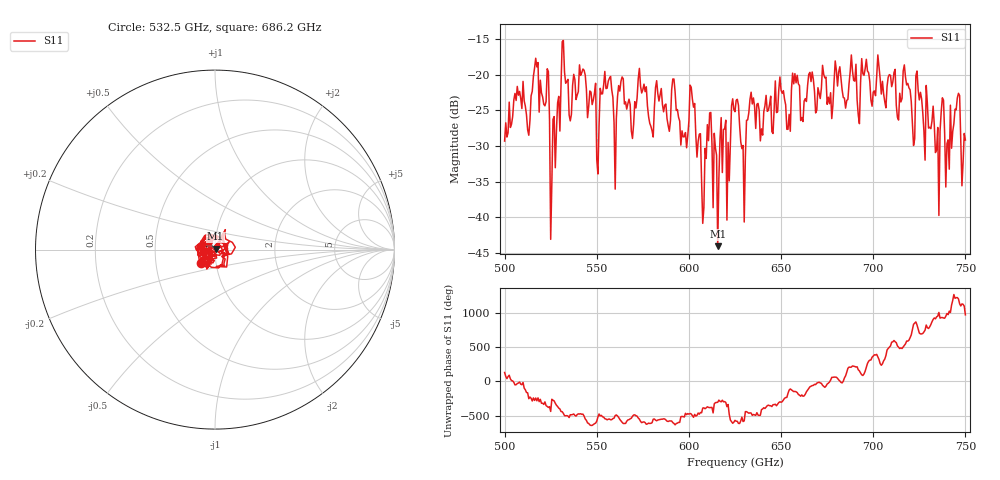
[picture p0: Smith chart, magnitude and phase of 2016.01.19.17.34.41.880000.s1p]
!Created with skrf (http://scikit-rf.org).
# GHz S RI R 50.0
!freq ReS11 ImS11
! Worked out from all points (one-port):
!   401 points, 500 GHz to 750 GHz, reference 50 ohm
!   lowest |S11| = -44.1 dB at 615.6 GHz (marker M1), VSWR 1.01, Z = 50.3 + j0.53 ohm
!   |S11| at or under -10 dB: start of sweep to end of sweep
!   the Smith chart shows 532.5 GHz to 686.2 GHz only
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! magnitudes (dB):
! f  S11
! 500 GHz  -29.3
! 506.9 GHz  -21.6
! 513.1 GHz  -28.5
! 516.9 GHz  -17.7
! 523.1 GHz  -19.2
! 526.2 GHz  -26.3
! 531.2 GHz  -15.3
! 541.9 GHz  -19.7
! 551.2 GHz  -27.0
! 553.1 GHz  -22.7
! 560 GHz  -36.1
! 562.5 GHz  -22.3
! 593.8 GHz  -24.9
! 598.1 GHz  -28.1
! 601.9 GHz  -23.4
! 608.1 GHz  -38.6
! 611.2 GHz  -25.4
! 615.6 GHz  -44.1
! 621.9 GHz  -34.9
! 625 GHz  -25.2
! 629.4 GHz  -29.9
! 633.8 GHz  -22.4
! 656.2 GHz  -19.8
! 687.5 GHz  -19.6
! 718.8 GHz  -21.2
! 735 GHz  -27.4
! 745.6 GHz  -23.2
! 750 GHz  -29.2
